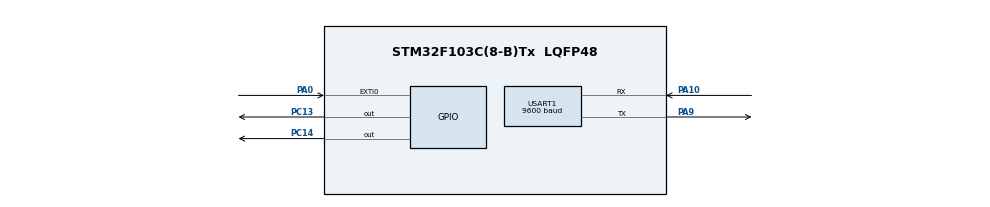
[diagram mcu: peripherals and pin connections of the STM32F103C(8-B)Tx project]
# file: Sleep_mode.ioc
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Mcu.Family=STM32F1
Mcu.Name=STM32F103C(8-B)Tx
Mcu.Package=LQFP48
NVIC.EXTI0_IRQn=true\:1\:0\:true\:false\:true\:true\:true\:true
NVIC.PriorityGroup=NVIC_PRIORITYGROUP_4
NVIC.USART1_IRQn=true\:1\:0\:true\:false\:true\:true\:true\:true
PA0-WKUP.GPIO_ModeDefaultEXTI=GPIO_MODE_IT_FALLING
PA0-WKUP.GPIO_PuPd=GPIO_PULLUP
PA0-WKUP.Signal=GPXTI0
PA10.Mode=Asynchronous
PA10.Signal=USART1_RX
PA13.Mode=Serial_Wire
PA13.Signal=SYS_JTMS-SWDIO
PA14.Mode=Serial_Wire
PA14.Signal=SYS_JTCK-SWCLK
PA9.Mode=Asynchronous
PA9.Signal=USART1_TX
PC13-TAMPER-RTC.Signal=GPIO_Output
PC14-OSC32_IN.Signal=GPIO_Output
ProjectManager.HeapSize=0x200
ProjectManager.StackSize=0x400
ProjectManager.TargetToolchain=Makefile
RCC.APB1Freq_Value=8000000
RCC.APB2Freq_Value=8000000
USART1.BaudRate=9600
USART1.VirtualMode=VM_ASYNC
board=custom

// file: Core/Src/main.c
/* USER CODE BEGIN Header */
/**
  ******************************************************************************
  * @file           : main.c
  * @brief          : Main program body
  ******************************************************************************
  * @attention
  *
  * Copyright (c) 2022 STMicroelectronics.
  * All rights reserved.
  *
  * This software is licensed under terms that can be found in the LICENSE file
  * in the root directory of this software component.
  * If no LICENSE file comes with this software, it is provided AS-IS.
  *
  ******************************************************************************
  */
/* USER CODE END Header */
#include "main.h"
#include "usart.h"
#include "gpio.h"

/* USER CODE BEGIN Includes */
#include "string.h"
/* USER CODE END Includes */

/* USER CODE BEGIN PV */
uint8_t buffer[10];
char *str;
/* USER CODE END PV */

void SystemClock_Config(void);

int main(void)
{

  /* MCU Configuration--------------------------------------------------------*/

  /* Reset of all peripherals, Initializes the Flash interface and the Systick. */
  HAL_Init();

  /* Configure the system clock */
  SystemClock_Config();

  /* Initialize all configured peripherals */
  MX_GPIO_Init();
  MX_USART1_UART_Init();
  /* USER CODE BEGIN 2 */
  HAL_UART_Receive_IT(&huart1, buffer, 1);
  HAL_GPIO_WritePin(GPIOC, GPIO_PIN_14, 1);
  HAL_SuspendTick();
  HAL_PWR_EnterSLEEPMode(PWR_MAINREGULATOR_ON, PWR_SLEEPENTRY_WFI);
  HAL_ResumeTick();
  //HAL_GPIO_WritePin(GPIOC, GPIO_PIN_14, 1);
  /* USER CODE END 2 */

  /* Infinite loop */
  while (1)
  {
    HAL_SuspendTick();
    HAL_PWR_EnterSLEEPMode(PWR_MAINREGULATOR_ON, PWR_SLEEPENTRY_WFI);
    HAL_ResumeTick();
    HAL_GPIO_TogglePin(GPIOC, GPIO_PIN_13);
    HAL_Delay(1000);
  }
}

void SystemClock_Config(void)
{
  RCC_OscInitTypeDef RCC_OscInitStruct = {0};
  RCC_ClkInitTypeDef RCC_ClkInitStruct = {0};

  /** Initializes the RCC Oscillators according to the specified parameters
  * in the RCC_OscInitTypeDef structure.
  */
  RCC_OscInitStruct.OscillatorType = RCC_OSCILLATORTYPE_HSI;
  RCC_OscInitStruct.HSIState = RCC_HSI_ON;
  RCC_OscInitStruct.HSICalibrationValue = RCC_HSICALIBRATION_DEFAULT;
  RCC_OscInitStruct.PLL.PLLState = RCC_PLL_NONE;
  if (HAL_RCC_OscConfig(&RCC_OscInitStruct) != HAL_OK)
  {
    Error_Handler();
  }

  /** Initializes the CPU, AHB and APB buses clocks
  */
  RCC_ClkInitStruct.ClockType = RCC_CLOCKTYPE_HCLK|RCC_CLOCKTYPE_SYSCLK
                              |RCC_CLOCKTYPE_PCLK1|RCC_CLOCKTYPE_PCLK2;
  RCC_ClkInitStruct.SYSCLKSource = RCC_SYSCLKSOURCE_HSI;
  RCC_ClkInitStruct.AHBCLKDivider = RCC_SYSCLK_DIV1;
  RCC_ClkInitStruct.APB1CLKDivider = RCC_HCLK_DIV1;
  RCC_ClkInitStruct.APB2CLKDivider = RCC_HCLK_DIV1;

  if (HAL_RCC_ClockConfig(&RCC_ClkInitStruct, FLASH_LATENCY_0) != HAL_OK)
  {
    Error_Handler();
  }
}

/* USER CODE BEGIN 4 */
void HAL_UART_RxCpltCallback(UART_HandleTypeDef *huart)
{
  if(huart == &huart1)
  {
    str = "wake up by uart\n";
    HAL_UART_Transmit(&huart1, (uint8_t*)str, strlen(str), 100);
    HAL_UART_Receive_IT(&huart1, buffer, 1);
  }
}
void HAL_GPIO_EXTI_Callback(uint16_t GPIO_Pin)
{
  str = "wake up by exti\n";
  HAL_UART_Transmit(&huart1, (uint8_t*)str, strlen(str), 100);
  HAL_UART_Receive_IT(&huart1, buffer, 1);
}
/* USER CODE END 4 */

void Error_Handler(void)
{
  __disable_irq();
  while (1)
  {
  }
}
